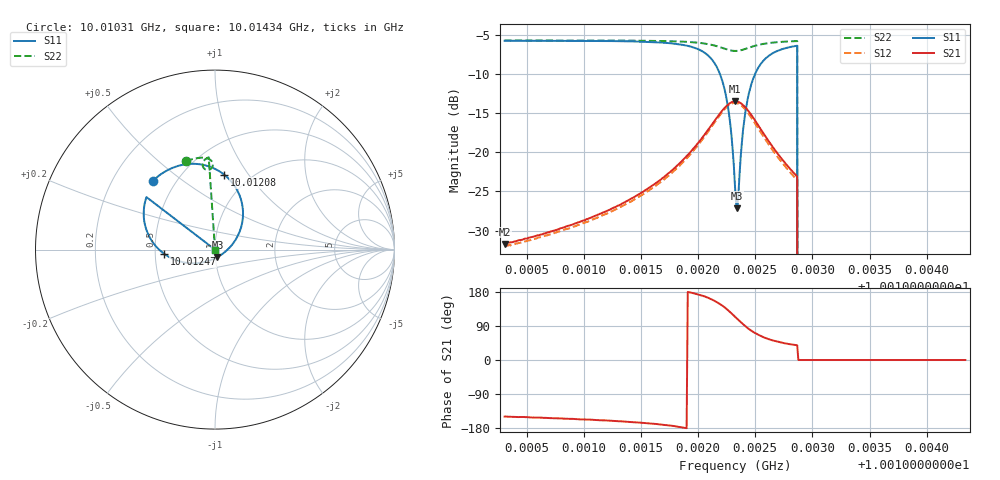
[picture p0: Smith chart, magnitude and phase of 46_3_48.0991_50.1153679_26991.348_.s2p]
#  HZ  S  RI  R  50.00
! Rohde & Schwarz Vector Network Analyzer
! Rohde-Schwarz,ZNB20-2Port,1311601062101988,3.16
! Created: UTC 12/23/2023, 3:39:17 AM
! freq[Hz]  re:S11  im:S11  re:S21  im:S21  re:S12  im:S12  re:S22  im:S22
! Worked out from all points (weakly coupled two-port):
!   401 points, 10.01031 GHz to 10.01434 GHz, reference 50 ohm
!   highest |S21| = -13.47 dB at 10.01232 GHz (marker M1); lowest = -31.7 dB at 10.01031 GHz (marker M2)
!   lowest |S11| = -27.2 dB at 10.01234 GHz (marker M3), VSWR 1.09, Z = 51.2 - j4.28 ohm
!   |S11| at or under -10 dB: 10.01219 GHz to 10.0125 GHz (306.1 kHz wide, 0.00306 % of centre); 10.01287 GHz to end of sweep
!   |S22| runs from - to -5.7 dB; largest |S21 - S12| = 0.0098
!   S11 on the Smith chart (normalised r, x): 10.01031 GHz: 0.37, +0.39; 10.01208 GHz: 0.77, +0.78; 10.01247 GHz: 0.56, -0.03; 10.01434 GHz: 1.00, +0.00
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1.0010307e10  -0.3468 0.384  -0.0223 -0.0133  -0.0209 -0.014  -0.1621 0.4933
1.0010983e10  -0.2903 0.4273  -0.0334 -0.0143  -0.0312 -0.0155  -0.1174 0.506
1.0011658e10  -0.1769 0.473  -0.0647 -0.0119  -0.0617 -0.0147  -0.0648 0.5121
1.001193e10  -0.063 0.4716  -0.0999 0.00286  -0.0966 -0.00251  -0.0369 0.5063
1.0012081e10  0.0517 0.4171  -0.1325 0.0355  -0.1308 0.0282  -0.019 0.493
1.0012172e10  0.131 0.3158  -0.1488 0.0818  -0.1495 0.072  -0.0119 0.4758
1.0012242e10  0.155 0.1747  -0.1421 0.1352  -0.1452 0.1262  -0.0159 0.4577
1.0012283e10  0.1276 0.0779  -0.121 0.1683  -0.1249 0.1604  -0.0243 0.4486
1.0012323e10  0.0597 -0.00971  -0.0865 0.1935  -0.0917 0.1861  -0.037 0.4438
1.0012333e10  0.0389 -0.0259  -0.0774 0.1973  -0.0824 0.19  -0.0403 0.4435
1.0012343e10  0.0138 -0.0417  -0.0668 0.2004  -0.0715 0.1934  -0.0437 0.4437
1.0012353e10  -0.0104 -0.0536  -0.0569 0.2024  -0.0612 0.1957  -0.0469 0.4444
1.0012394e10  -0.1163 -0.0765  -0.0154 0.2001  -0.0194 0.194  -0.0587 0.4503
1.0012414e10  -0.1661 -0.0727  0.00308 0.1941  -0.00241 0.1877  -0.0629 0.4547
1.0012474e10  -0.2837 -0.0232  0.0424 0.1647  0.0363 0.1592  -0.0691 0.4699
1.0012535e10  -0.3522 0.0488  0.0605 0.1326  0.054 0.1283  -0.0678 0.4834
1.0012605e10  -0.3872 0.1262  0.0675 0.1013  0.0609 0.0987  -0.0621 0.4948
1.0012847e10  -0.3846 0.2845  0.0558 0.0464  0.0512 0.0462  -0.0369 0.5131
1.0012898e10  0 0  0 0  0 0  0 0
1.0012998e10  0 0  0 0  0 0  0 0
1.0013674e10  0 0  0 0  0 0  0 0
1.0014339e10  0 0  0 0  0 0  0 0
